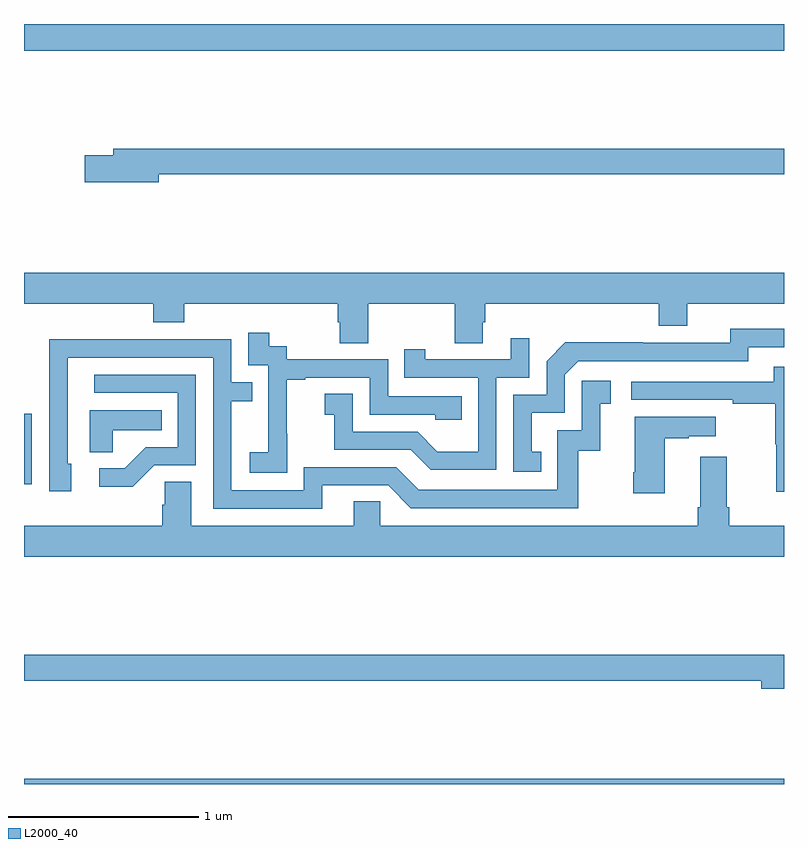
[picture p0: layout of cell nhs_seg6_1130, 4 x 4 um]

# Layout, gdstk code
import gdstk
lib = gdstk.Library(unit=1e-6, precision=1e-09)
def R(c, l, rs):  # rectangles x0, y0, x1, y1
    for r in rs: c.add(gdstk.rectangle(r[:2], r[2:], *l))
def P(c, l, *ps):  # polygons
    for p in ps: c.add(gdstk.Polygon(p, *l))
L2000_40 = (2000, 40)

nhs_seg6_1130 = lib.new_cell('nhs_seg6_1130')
R(nhs_seg6_1130, L2000_40, [(181,919.5,185,919.528), (181,921.078,181.041,921.448), (181,923.36,185,923.5)])
P(nhs_seg6_1130, L2000_40, [(181.708,922.708),(185,922.708),(185,922.844),(181.469,922.844),(181.469,922.808),(181.32,922.808),(181.32,922.666),(181.708,922.666)],
  [(182.811,922.028),(183.268,922.028),(183.268,921.82),(183.415,921.82),(183.415,921.93),(183.428,921.93),(183.428,922.028),(184.34,922.028),(184.34,921.911),(184.492,921.911),(184.492,922.028),(185,922.028),(185,922.192),(181,922.192),(181,922.028),(181.679,922.028),(181.679,921.929),(181.844,921.929),(181.844,922.028),(182.651,922.028),(182.651,921.93),(182.663,921.93),(182.663,921.82),(182.811,921.82)],
  [(183.722,921.249),(183.673,921.249),(183.673,921.453),(183.846,921.453),(183.846,921.654),(183.918,921.726),(184.812,921.726),(184.812,921.798),(185,921.798),(185,921.895),(184.716,921.895),(184.716,921.822),(184.256,921.822),(184.256,921.824),(183.848,921.824),(183.75,921.726),(183.75,921.549),(183.576,921.549),(183.576,921.144),(183.722,921.144)],
  [(182.385,921.343),(182.384,921.343),(182.384,921.627),(182.479,921.627),(182.479,921.639),(182.82,921.639),(182.82,921.444),(183.165,921.444),(183.165,921.417),(183.305,921.417),(183.305,921.54),(182.916,921.54),(182.916,921.735),(182.382,921.735),(182.382,921.804),(182.29,921.804),(182.29,921.874),(182.181,921.874),(182.181,921.705),(182.286,921.705),(182.286,921.476),(182.285,921.476),(182.285,921.247),(182.187,921.247),(182.187,921.137),(182.385,921.137)],
  [(183.486,921.639),(183.66,921.639),(183.66,921.847),(183.563,921.847),(183.563,921.735),(183.112,921.735),(183.112,921.787),(183.001,921.787),(183.001,921.639),(183.39,921.639),(183.39,921.25),(183.176,921.25),(183.072,921.354),(182.73,921.354),(182.73,921.553),(182.583,921.553),(182.583,921.443),(182.632,921.443),(182.632,921.258),(183.035,921.258),(183.14,921.153),(183.486,921.153)],
  [(182.569,921.072),(182.916,921.072),(183.036,920.952),(183.916,920.952),(183.916,921.255),(184.034,921.255),(184.034,921.501),(184.087,921.501),(184.087,921.622),(183.936,921.622),(183.936,921.363),(183.807,921.363),(183.807,921.048),(183.078,921.048),(182.958,921.168),(182.472,921.168),(182.472,921.045),(182.091,921.045),(182.091,921.514),(182.201,921.514),(182.201,921.615),(182.091,921.615),(182.091,921.84),(181.595,921.84),(181.595,921.842),(181.132,921.842),(181.132,921.535),(181.134,921.535),(181.134,921.042),(181.249,921.042),(181.249,921.186),(181.23,921.186),(181.23,921.744),(181.995,921.744),(181.995,920.949),(182.569,920.949)],
  [(185,921.697),(184.945,921.697),(184.945,921.618),(184.197,921.618),(184.197,921.522),(184.729,921.522),(184.729,921.502),(184.953,921.502),(184.953,921.288),(184.96,921.288),(184.96,921.039),(185,921.039)],
  [(181.686,921.177),(181.905,921.177),(181.905,921.654),(181.371,921.654),(181.371,921.558),(181.809,921.558),(181.809,921.273),(181.64,921.273),(181.529,921.162),(181.395,921.162),(181.395,921.065),(181.573,921.065)],
  [(181.467,921.362),(181.724,921.362),(181.724,921.466),(181.346,921.466),(181.346,921.247),(181.467,921.247)],
  [(184.372,921.319),(184.499,921.319),(184.499,921.329),(184.642,921.329),(184.642,921.433),(184.214,921.433),(184.214,921.142),(184.207,921.142),(184.207,921.03),(184.372,921.03)],
  [(185,920.86),(184.712,920.86),(184.712,920.956),(184.699,920.956),(184.699,921.223),(184.559,921.223),(184.559,920.956),(184.547,920.956),(184.547,920.86),(182.874,920.86),(182.874,920.987),(182.735,920.987),(182.735,920.86),(181.879,920.86),(181.879,921.092),(181.74,921.092),(181.74,920.969),(181.727,920.969),(181.727,920.86),(181,920.86),(181,920.696),(185,920.696)],
  [(185,920.18),(181,920.18),(181,920.044),(184.88,920.044),(184.88,920.002),(185,920.002)])

lib.write_gds('nhs_seg6_1130.gds')
